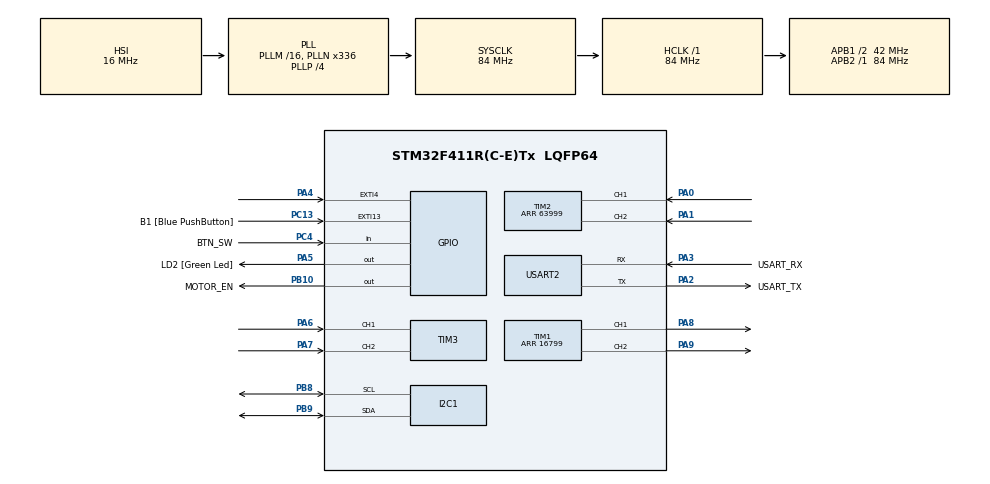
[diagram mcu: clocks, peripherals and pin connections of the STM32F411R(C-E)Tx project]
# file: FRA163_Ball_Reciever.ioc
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ARM.CMSIS.5.7.0.CMSISJjCORE=true
ARM.CMSIS.5.7.0.CMSISJjDSP=Library
Mcu.Family=STM32F4
Mcu.Name=STM32F411R(C-E)Tx
Mcu.Package=LQFP64
NVIC.PriorityGroup=NVIC_PRIORITYGROUP_0
NVIC.TIM1_BRK_TIM9_IRQn=true\:0\:0\:false\:false\:true\:true\:true\:true
NVIC.TIM2_IRQn=true\:0\:0\:false\:false\:true\:true\:true\:true
NVIC.TIM3_IRQn=true\:0\:0\:false\:false\:true\:true\:true\:true
NVIC.TIM4_IRQn=true\:0\:0\:false\:false\:true\:true\:true\:true
NVIC.TIM5_IRQn=true\:0\:0\:false\:false\:true\:true\:true\:true
PA0-WKUP.Signal=S_TIM2_CH1_ETR
PA1.Signal=S_TIM2_CH2
PA13.GPIO_Label=TMS
PA13.Mode=Serial_Wire
PA13.Signal=SYS_JTMS-SWDIO
PA14.GPIO_Label=TCK
PA14.Mode=Serial_Wire
PA14.Signal=SYS_JTCK-SWCLK
PA2.GPIO_Label=USART_TX
PA2.Mode=Asynchronous
PA2.Signal=USART2_TX
PA3.GPIO_Label=USART_RX
PA3.Mode=Asynchronous
PA3.Signal=USART2_RX
PA4.Signal=GPXTI4
PA5.GPIO_Label=LD2 [Green Led]
PA5.Signal=GPIO_Output
PA6.Signal=S_TIM3_CH1
PA7.Signal=S_TIM3_CH2
PA8.Signal=S_TIM1_CH1
PA9.Signal=S_TIM1_CH2
PB10.GPIO_Label=MOTOR_EN
PB10.Signal=GPIO_Output
PB3.GPIO_Label=SWO
PB3.Signal=SYS_JTDO-SWO
PB8.Mode=I2C
PB8.Signal=I2C1_SCL
PB9.Mode=I2C
PB9.Signal=I2C1_SDA
PC13-ANTI_TAMP.GPIO_Label=B1 [Blue PushButton]
PC13-ANTI_TAMP.GPIO_ModeDefaultEXTI=GPIO_MODE_IT_FALLING
PC13-ANTI_TAMP.Signal=GPXTI13
PC14-OSC32_IN.Mode=LSE-External-Oscillator
PC14-OSC32_IN.Signal=RCC_OSC32_IN
PC15-OSC32_OUT.Mode=LSE-External-Oscillator
PC15-OSC32_OUT.Signal=RCC_OSC32_OUT
PC4.GPIO_Label=BTN_SW
PC4.Signal=GPIO_Input
PH0\ -\ OSC_IN.Mode=HSE-External-Clock-Source
PH0\ -\ OSC_IN.Signal=RCC_OSC_IN
PH1\ -\ OSC_OUT.Mode=HSE-External-Clock-Source
PH1\ -\ OSC_OUT.Signal=RCC_OSC_OUT
ProjectManager.HeapSize=0x200
ProjectManager.StackSize=0x400
ProjectManager.TargetToolchain=STM32CubeIDE
RCC.48MHZClocksFreq_Value=84000000
RCC.AHBFreq_Value=84000000
RCC.APB1CLKDivider=RCC_HCLK_DIV2
RCC.APB1Freq_Value=42000000
RCC.APB1TimFreq_Value=84000000
RCC.APB2Freq_Value=84000000
RCC.APB2TimFreq_Value=84000000
RCC.CortexFreq_Value=84000000
RCC.FLatency-AdvancedSettings=FLASH_LATENCY_2
RCC.HCLKFreq_Value=84000000
RCC.HSE_VALUE=8000000
RCC.HSI_VALUE=16000000
RCC.PLLN=336
RCC.PLLP=RCC_PLLP_DIV4
RCC.SYSCLKFreq_VALUE=84000000
RCC.SYSCLKSource=RCC_SYSCLKSOURCE_PLLCLK
RCC.VCOOutputFreq_Value=336000000
SH.S_TIM1_CH1.0=TIM1_CH1,PWM Generation1 CH1
SH.S_TIM1_CH2.0=TIM1_CH2,PWM Generation2 CH2
SH.S_TIM2_CH1_ETR.0=TIM2_CH1,Encoder_Interface
SH.S_TIM2_CH2.0=TIM2_CH2,Encoder_Interface
SH.S_TIM3_CH1.0=TIM3_CH1,Encoder_Interface
SH.S_TIM3_CH2.0=TIM3_CH2,Encoder_Interface
TIM1.AutoReloadPreload=TIM_AUTORELOAD_PRELOAD_ENABLE
TIM1.Channel-PWM\ Generation1\ CH1=TIM_CHANNEL_1
TIM1.Channel-PWM\ Generation2\ CH2=TIM_CHANNEL_2
TIM1.Period=16799
TIM2.EncoderMode=TIM_ENCODERMODE_TI12
TIM2.Period=63999
TIM3.EncoderMode=TIM_ENCODERMODE_TI12
TIM4.Period=999
TIM4.Prescaler=83
TIM5.Period=9999
TIM5.Prescaler=83
TIM9.Period=999
TIM9.Prescaler=84
USART2.VirtualMode=VM_ASYNC
VP_ARM.CMSIS_VS_CMSISJjCORE_5.4.0_5.7.0.Mode=CMSISJjCORE
VP_ARM.CMSIS_VS_CMSISJjDSP_1.8.0_5.7.0.Mode=CMSISJjDSP
VP_TIM1_VS_ClockSourceINT.Mode=Internal
VP_TIM4_VS_ClockSourceINT.Mode=Internal
VP_TIM5_VS_ClockSourceINT.Mode=Internal
VP_TIM9_VS_ClockSourceINT.Mode=Internal
board=NUCLEO-F411RE

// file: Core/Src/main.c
/* USER CODE BEGIN Header */
/**
 ******************************************************************************
 * @file           : main.c
 * @brief          : Ball Receiver UI — RPM 3-10 (instant start/stop)
 *                   LCD: 2004A (20x4, HD44780 over PCF8574 I2C backpack)
 ******************************************************************************
 */
/* USER CODE END Header */
#include "main.h"
#include "i2c.h"
#include "tim.h"
#include "usart.h"
#include "gpio.h"

/* USER CODE BEGIN Includes */
#include "RevRobot1DOF.h"
#include <math.h>
#include <string.h>
#include <stdio.h>
/* USER CODE END Includes */

/* USER CODE BEGIN PD */
#define RPM_MIN           3
#define RPM_MAX           10
#define RPM_DEFAULT       5

#define LONG_PRESS_MS     1500
#define DEBOUNCE_MS       30
#define ENCODER_DETENT    4

#define LCD_BACKLIGHT     0x08
#define LCD_EN            0x04
#define LCD_RW            0x02
#define LCD_RS            0x01

#define STOPPED_HOLD_MS   1500
/* USER CODE END PD */

/* USER CODE BEGIN PV */
RevRobot1DOF_t BallReciever;
float power = 0.0f;
float target_angle = 0.0f;
float target_RPM = 0.0f;
float last_target_RPM = 0.0f;
float Tracking_Error = 0.0f;

// State machine
typedef enum {
	APP_READY = 0,
	APP_SELECT,
	APP_RUNNING,
	APP_STOPPED
} AppState_t;

static AppState_t app_state = APP_READY;
static uint8_t rpm_selected = RPM_DEFAULT;

static int16_t last_enc_count = 0;
static uint32_t btn_press_tick = 0;
static uint8_t btn_prev_state = 1;
static uint8_t btn_long_fired = 0;
static uint32_t blink_tick = 0;
static uint8_t blink_on = 1;
static uint32_t state_enter_tick = 0;

static uint8_t lcd_addr = 0x00;
static uint8_t lcd_addr_8bit = 0x00;

volatile uint8_t  dbg_lcd_addr_found = 0;
volatile uint32_t dbg_loop_count     = 0;
volatile uint8_t  dbg_app_state      = 0;
volatile uint8_t  dbg_rpm_selected   = 0;
volatile float    dbg_target_rpm     = 0.0f;
volatile float    dbg_meas_rpm       = 0.0f;
volatile uint32_t dbg_motor_send_cnt = 0;
volatile uint8_t  dbg_robot_mode     = 0;
/* USER CODE END PV */

void SystemClock_Config(void);
/* USER CODE BEGIN PFP */
static uint8_t LCD_Scan_Address(void);
static void LCD_Send4Bits(uint8_t nibble, uint8_t rs);
static void LCD_SendByte(uint8_t b, uint8_t rs);
static void LCD_Cmd(uint8_t cmd);
static void LCD_Data(uint8_t data);
static void LCD_Init(void);
static void LCD_PrintAt(uint8_t col, uint8_t row, const char *s);

static void Display_Ready(void);
static void Display_Select(uint8_t rpm, uint8_t blink_on);
static void Display_Running(float current_rpm, uint8_t target_rpm);
static void Display_Stopped(void);

static int8_t Encoder_ReadDelta(void);
static void Button_Poll(uint8_t *short_press, uint8_t *long_press);
static void App_Tick(void);

static void LED_Blink(uint8_t times, uint16_t delay_ms);
/* USER CODE END PFP */

/* USER CODE BEGIN 0 */

static void LED_Blink(uint8_t times, uint16_t delay_ms) {
	for (uint8_t i = 0; i < times; i++) {
		HAL_GPIO_WritePin(LD2_GPIO_Port, LD2_Pin, GPIO_PIN_SET);
		HAL_Delay(delay_ms);
		HAL_GPIO_WritePin(LD2_GPIO_Port, LD2_Pin, GPIO_PIN_RESET);
		HAL_Delay(delay_ms);
	}
}

// =====================================================================
// LCD2004A I2C driver (HD44780 over PCF8574 backpack)
// =====================================================================

static uint8_t LCD_Scan_Address(void) {
	static const uint8_t common[] = { 0x27, 0x3F, 0x20, 0x38 };
	for (uint8_t i = 0; i < sizeof(common); i++) {
		for (uint8_t retry = 0; retry < 3; retry++) {
			if (HAL_I2C_IsDeviceReady(&hi2c1, (uint16_t)(common[i] << 1), 3, 50) == HAL_OK)
				return common[i];
			HAL_Delay(50);
		}
	}
	for (uint8_t a = 0x08; a < 0x78; a++) {
		if (HAL_I2C_IsDeviceReady(&hi2c1, (uint16_t)(a << 1), 2, 20) == HAL_OK)
			return a;
	}
	return 0;
}

static void LCD_Send4Bits(uint8_t nibble, uint8_t rs) {
	uint8_t data       = (nibble & 0xF0) | LCD_BACKLIGHT | (rs ? LCD_RS : 0);
	uint8_t with_en    = data | LCD_EN;
	uint8_t without_en = data & ~LCD_EN;
	HAL_I2C_Master_Transmit(&hi2c1, lcd_addr_8bit, &without_en, 1, 10);
	HAL_I2C_Master_Transmit(&hi2c1, lcd_addr_8bit, &with_en,    1, 10);
	HAL_I2C_Master_Transmit(&hi2c1, lcd_addr_8bit, &without_en, 1, 10);
	HAL_Delay(1);
}

static void LCD_SendByte(uint8_t b, uint8_t rs) {
	LCD_Send4Bits(b & 0xF0, rs);
	LCD_Send4Bits((uint8_t)(b << 4) & 0xF0, rs);
}

static void LCD_Cmd(uint8_t cmd)   { LCD_SendByte(cmd, 0); }
static void LCD_Data(uint8_t data) { LCD_SendByte(data, 1); }

static void LCD_Init(void) {
	HAL_Delay(50);
	LCD_Send4Bits(0x30, 0); HAL_Delay(5);
	LCD_Send4Bits(0x30, 0); HAL_Delay(1);
	LCD_Send4Bits(0x30, 0); HAL_Delay(1);
	LCD_Send4Bits(0x20, 0); HAL_Delay(1);
	LCD_Cmd(0x28);   // 4-bit, 2-line (HD44780 treats 2004A as 2x40 internally)
	LCD_Cmd(0x0C);   // Display ON, cursor OFF, blink OFF
	LCD_Cmd(0x06);   // Entry mode: increment, no shift
	LCD_Cmd(0x01);   // Clear display
	HAL_Delay(2);
}

/**
 * @brief  Print string at (col, row) on the 2004A.
 *         Row offsets for 20x4: row0=0x00, row1=0x40, row2=0x14, row3=0x54
 */
static void LCD_PrintAt(uint8_t col, uint8_t row, const char *s) {
	static const uint8_t row_offsets[4] = { 0x00, 0x40, 0x14, 0x54 };
	LCD_Cmd((uint8_t)(0x80 | (row_offsets[row & 3] + col)));
	while (*s) LCD_Data((uint8_t)*s++);
}

// =====================================================================
// Display layer  (20 chars wide, 4 rows)
// =====================================================================

static void Display_Ready(void) {
	LCD_PrintAt(0, 0, "====================");
	LCD_PrintAt(0, 1, "   Ball Receiver    ");
	LCD_PrintAt(0, 2, "   Press to Start   ");
	LCD_PrintAt(0, 3, "====================");
}

static void Display_Select(uint8_t rpm, uint8_t blink_on) {
	char line2[21];
	if (blink_on)
		snprintf(line2, sizeof(line2), "  Target RPM:  %2u   ", rpm);
	else
		snprintf(line2, sizeof(line2), "  Target RPM:       ");

	LCD_PrintAt(0, 0, "====================");
	LCD_PrintAt(0, 1, "   Configure RPM    ");
	LCD_PrintAt(0, 2, line2);
	LCD_PrintAt(0, 3, " Turn knob, hold OK ");
}

static void Display_Running(float current_rpm, uint8_t target_rpm) {
	char line2[21];
	char line3[21];

	float meas = current_rpm < 0.0f ? -current_rpm : current_rpm;
	if (meas > 99.9f) meas = 99.9f;

	uint16_t meas_x10 = (uint16_t)(meas * 10.0f + 0.5f);
	uint8_t  meas_int  = meas_x10 / 10;
	uint8_t  meas_frac = meas_x10 % 10;

	snprintf(line2, sizeof(line2), "  Meas : %2u.%u RPM   ", meas_int, meas_frac);
	snprintf(line3, sizeof(line3), "  Target:  %2u RPM   ", target_rpm);

	LCD_PrintAt(0, 0, "====================");
	LCD_PrintAt(0, 1, "      Running       ");
	LCD_PrintAt(0, 2, line2);
	LCD_PrintAt(0, 3, line3);
}

static void Display_Stopped(void) {
	LCD_PrintAt(0, 0, "====================");
	LCD_PrintAt(0, 1, "                    ");
	LCD_PrintAt(0, 2, "      Stopped       ");
	LCD_PrintAt(0, 3, "====================");
}

// =====================================================================
// Encoder reader
// =====================================================================

static int8_t Encoder_ReadDelta(void) {
	int16_t cur  = (int16_t)__HAL_TIM_GET_COUNTER(&htim3);
	int16_t diff = cur - last_enc_count;
	if (diff >=  ENCODER_DETENT) { last_enc_count = cur; return +1; }
	if (diff <= -ENCODER_DETENT) { last_enc_count = cur; return -1; }
	return 0;
}

// =====================================================================
// Button polling
// =====================================================================

static void Button_Poll(uint8_t *short_press, uint8_t *long_press) {
	*short_press = 0;
	*long_press  = 0;
	uint8_t  cur = HAL_GPIO_ReadPin(BTN_SW_GPIO_Port, BTN_SW_Pin);
	uint32_t now = HAL_GetTick();

	if (btn_prev_state == 1 && cur == 0) {
		btn_press_tick = now;
		btn_long_fired = 0;
	} else if (btn_prev_state == 0 && cur == 0) {
		if (!btn_long_fired && (now - btn_press_tick) >= LONG_PRESS_MS) {
			*long_press    = 1;
			btn_long_fired = 1;
		}
	} else if (btn_prev_state == 0 && cur == 1) {
		uint32_t held = now - btn_press_tick;
		if (held >= DEBOUNCE_MS && held < LONG_PRESS_MS && !btn_long_fired)
			*short_press = 1;
	}
	btn_prev_state = cur;
}

// =====================================================================
// Application state machine
// =====================================================================

static void App_Tick(void) {
	uint8_t sp = 0, lp = 0;
	Button_Poll(&sp, &lp);
	int8_t   enc = Encoder_ReadDelta();
	uint32_t now = HAL_GetTick();
	dbg_loop_count++;

	// Debug mirror
	dbg_app_state    = (uint8_t)app_state;
	dbg_rpm_selected = rpm_selected;
	dbg_target_rpm   = target_RPM;
	dbg_meas_rpm     = BallReciever.RPM;
	dbg_robot_mode   = (uint8_t)BallReciever.Mode;

	static uint32_t last_lcd_update = 0;
	uint8_t do_refresh = 0;
	if (now - last_lcd_update >= 100) {
		do_refresh      = 1;
		last_lcd_update = now;
	}

	switch (app_state) {

	// ============================================================
	case APP_READY:
		if (sp) {
			blink_tick = now;
			blink_on   = 1;
			app_state  = APP_SELECT;
			Display_Select(rpm_selected, 1);
		}
		break;

	// ============================================================
	case APP_SELECT:
		if (now - blink_tick >= 350) {
			blink_tick = now;
			blink_on  ^= 1;
			Display_Select(rpm_selected, blink_on);
		}
		if (enc != 0) {
			int8_t v = (int8_t)rpm_selected + enc;
			if (v < RPM_MIN) v = RPM_MAX;
			if (v > RPM_MAX) v = RPM_MIN;
			rpm_selected = (uint8_t)v;
			blink_on     = 1;
			blink_tick   = now;
			Display_Select(rpm_selected, 1);
		}
		if (lp) {
			target_RPM = (float)rpm_selected;
			app_state  = APP_RUNNING;
			Display_Running(BallReciever.RPM, rpm_selected);
		}
		break;

	// ============================================================
	case APP_RUNNING:
		if (do_refresh)
			Display_Running(BallReciever.RPM, rpm_selected);
		if (lp) {
			target_RPM       = 0.0f;
			state_enter_tick = now;
			app_state        = APP_STOPPED;
			Display_Stopped();
		}
		break;

	// ============================================================
	case APP_STOPPED:
		if (now - state_enter_tick >= STOPPED_HOLD_MS) {
			app_state = APP_READY;
			Display_Ready();
		}
		break;
	}
}

/* USER CODE END 0 */

int main(void)
{

  /* MCU Configuration--------------------------------------------------------*/

  /* Reset of all peripherals, Initializes the Flash interface and the Systick. */
  HAL_Init();

  /* Configure the system clock */
  SystemClock_Config();

  /* Initialize all configured peripherals */
  MX_GPIO_Init();
  MX_USART2_UART_Init();
  MX_TIM1_Init();
  MX_TIM2_Init();
  MX_TIM4_Init();
  MX_TIM5_Init();
  MX_TIM9_Init();
  MX_I2C1_Init();
  MX_TIM3_Init();
  /* USER CODE BEGIN 2 */

	LED_Blink(2, 200);

	// ==========================================================
	// Modular RevRobot1DOF Setup
	// ==========================================================
	RevRobot1DOF_init(&BallReciever);
	RevRobot1DOF_init_Motor(&BallReciever, MOTOR_PWM_HTIM, MOTOR_CH1, MOTOR_CH2,
			MOTOR_EN_PORT, MOTOR_EN_PIN);
	RevRobot1DOF_init_Encoder(&BallReciever, ENCODER_QEI_HTIM, OBSERVER_HTIM,
			ENCODER_PPR, ENCODER_X, ENCODER_OVERFLOW, OBSERVER_PERIOD);
	RevRobot1DOF_init_Filter(&BallReciever, VELO_CUTOFF_HZ, OBSERVER_PERIOD);
	RevRobot1DOF_init_Position_PID(&BallReciever, 0.09f, 0.00001f, 0.0f, 100.0f,
			POSITION_CONTROL_HTIM, 0.01f);
	RevRobot1DOF_init_Velocity_PID(&BallReciever, 5.0f, 0.01f, 0.0f, 100.0f,
			VELOCITY_CONTROL_HTIM);

	RevRobot1DOF_set_RPM(&BallReciever, target_RPM);
	last_target_RPM = target_RPM;

	// ==========================================================
	// UI Setup — encoder + button
	// ==========================================================
	HAL_TIM_Encoder_Start(&htim3, TIM_CHANNEL_ALL);
	last_enc_count = (int16_t)__HAL_TIM_GET_COUNTER(&htim3);
	btn_prev_state = HAL_GPIO_ReadPin(BTN_SW_GPIO_Port, BTN_SW_Pin);

	// ==========================================================
	// LCD2004A Init
	// ==========================================================
	HAL_Delay(500);
	for (uint8_t retry = 0; retry < 5; retry++) {
		lcd_addr = LCD_Scan_Address();
		if (lcd_addr != 0) break;
		HAL_Delay(200);
	}
	dbg_lcd_addr_found = lcd_addr;

	if (lcd_addr == 0) {
		// LCD not found — blink error pattern indefinitely
		while (1) {
			LED_Blink(5, 80);
			HAL_Delay(800);
		}
	}

	lcd_addr_8bit = (uint8_t)(lcd_addr << 1);
	LCD_Init();
	HAL_GPIO_WritePin(LD2_GPIO_Port, LD2_Pin, GPIO_PIN_SET);
	Display_Ready();

  /* USER CODE END 2 */

  /* Infinite loop */
	while (1) {

    /* USER CODE BEGIN 3 */
		if (target_RPM != last_target_RPM) {
			RevRobot1DOF_set_RPM(&BallReciever, target_RPM);
			last_target_RPM = target_RPM;
			dbg_motor_send_cnt++;
		}

		Tracking_Error = BallReciever.TargetDegree
				- fmodf(BallReciever.Degree, 360.0f);

		// Heartbeat LED — 500 ms toggle while running
		static uint32_t led_tick = 0;
		uint32_t now = HAL_GetTick();
		if (now - led_tick >= 500) {
			led_tick = now;
			HAL_GPIO_TogglePin(LD2_GPIO_Port, LD2_Pin);
		}

		App_Tick();
	}
  /* USER CODE END 3 */
}

void SystemClock_Config(void)
{
  RCC_OscInitTypeDef RCC_OscInitStruct = {0};
  RCC_ClkInitTypeDef RCC_ClkInitStruct = {0};

  /** Configure the main internal regulator output voltage
  */
  __HAL_RCC_PWR_CLK_ENABLE();
  __HAL_PWR_VOLTAGESCALING_CONFIG(PWR_REGULATOR_VOLTAGE_SCALE1);

  /** Initializes the RCC Oscillators according to the specified parameters
  * in the RCC_OscInitTypeDef structure.
  */
  RCC_OscInitStruct.OscillatorType = RCC_OSCILLATORTYPE_HSI;
  RCC_OscInitStruct.HSIState = RCC_HSI_ON;
  RCC_OscInitStruct.HSICalibrationValue = RCC_HSICALIBRATION_DEFAULT;
  RCC_OscInitStruct.PLL.PLLState = RCC_PLL_ON;
  RCC_OscInitStruct.PLL.PLLSource = RCC_PLLSOURCE_HSI;
  RCC_OscInitStruct.PLL.PLLM = 16;
  RCC_OscInitStruct.PLL.PLLN = 336;
  RCC_OscInitStruct.PLL.PLLP = RCC_PLLP_DIV4;
  RCC_OscInitStruct.PLL.PLLQ = 4;
  if (HAL_RCC_OscConfig(&RCC_OscInitStruct) != HAL_OK)
  {
    Error_Handler();
  }

  /** Initializes the CPU, AHB and APB buses clocks
  */
  RCC_ClkInitStruct.ClockType = RCC_CLOCKTYPE_HCLK|RCC_CLOCKTYPE_SYSCLK
                              |RCC_CLOCKTYPE_PCLK1|RCC_CLOCKTYPE_PCLK2;
  RCC_ClkInitStruct.SYSCLKSource = RCC_SYSCLKSOURCE_PLLCLK;
  RCC_ClkInitStruct.AHBCLKDivider = RCC_SYSCLK_DIV1;
  RCC_ClkInitStruct.APB1CLKDivider = RCC_HCLK_DIV2;
  RCC_ClkInitStruct.APB2CLKDivider = RCC_HCLK_DIV1;

  if (HAL_RCC_ClockConfig(&RCC_ClkInitStruct, FLASH_LATENCY_2) != HAL_OK)
  {
    Error_Handler();
  }
}

/* USER CODE BEGIN 4 */

void HAL_TIM_PeriodElapsedCallback(TIM_HandleTypeDef *htim) {
	RevRobot1DOF_update(&BallReciever, htim);
}

/* USER CODE END 4 */

void Error_Handler(void)
{
  __disable_irq();
  while (1)
  {
  }
}
